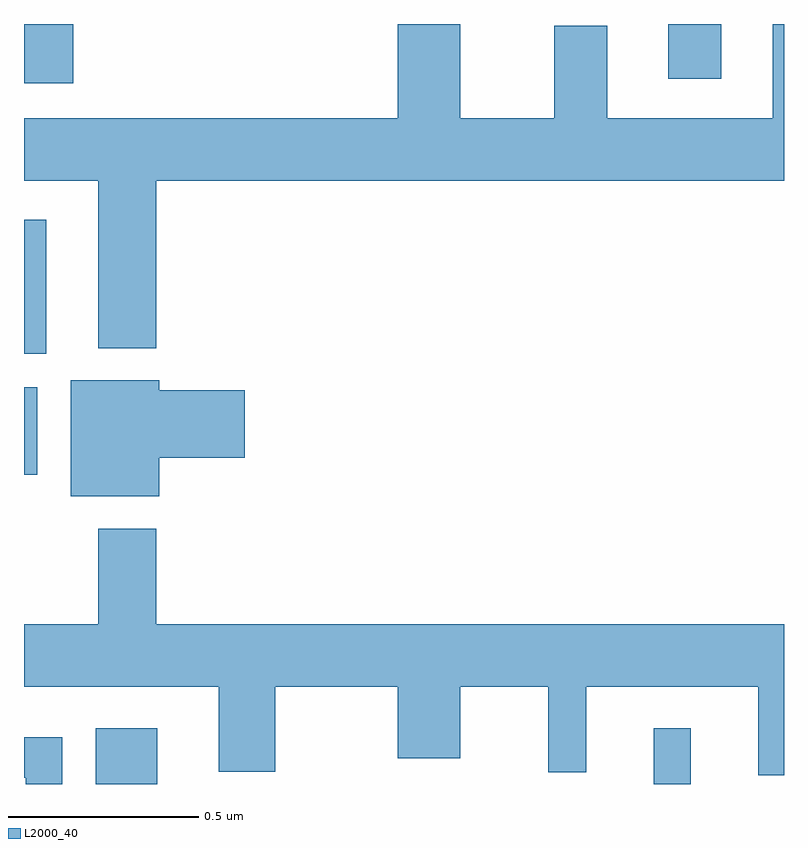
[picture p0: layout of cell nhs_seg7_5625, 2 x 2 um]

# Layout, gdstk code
import gdstk
lib = gdstk.Library(unit=1e-6, precision=1e-09)
def R(c, l, rs):  # rectangles x0, y0, x1, y1
    for r in rs: c.add(gdstk.rectangle(r[:2], r[2:], *l))
def P(c, l, *ps):  # polygons
    for p in ps: c.add(gdstk.Polygon(p, *l))
L2000_40 = (2000, 40)

nhs_seg7_5625 = lib.new_cell('nhs_seg7_5625')
R(nhs_seg7_5625, L2000_40, [(188.189,1027,188.35,1027.147), (189.657,1027,189.754,1027.147), (188,1027.814,188.035,1028.044), (188,1028.132,188.059,1028.485), (188,1028.844,188.129,1029), (189.695,1028.856,189.835,1029)])
P(nhs_seg7_5625, L2000_40, [(188.348,1028.588),(190,1028.588),(190,1029),(189.971,1029),(189.971,1028.752),(189.535,1028.752),(189.535,1028.995),(189.395,1028.995),(189.395,1028.752),(189.148,1028.752),(189.148,1029),(188.984,1029),(188.984,1028.752),(188,1028.752),(188,1028.588),(188.195,1028.588),(188.195,1028.147),(188.348,1028.147)],
  [(188.356,1027.858),(188.581,1027.858),(188.581,1028.036),(188.356,1028.036),(188.356,1028.062),(188.123,1028.062),(188.123,1027.757),(188.356,1027.757)],
  [(190,1027.42),(188.348,1027.42),(188.348,1027.672),(188.195,1027.672),(188.195,1027.42),(188,1027.42),(188,1027.256),(188.513,1027.256),(188.513,1027.032),(188.661,1027.032),(188.661,1027.256),(188.984,1027.256),(188.984,1027.068),(189.148,1027.068),(189.148,1027.256),(189.379,1027.256),(189.379,1027.031),(189.479,1027.031),(189.479,1027.256),(189.932,1027.256),(189.932,1027.023),(190,1027.023)],
  [(188.1,1027.123),(188,1027.123),(188,1027.016),(188.004,1027.016),(188.004,1027),(188.1,1027)])

lib.write_gds('nhs_seg7_5625.gds')
